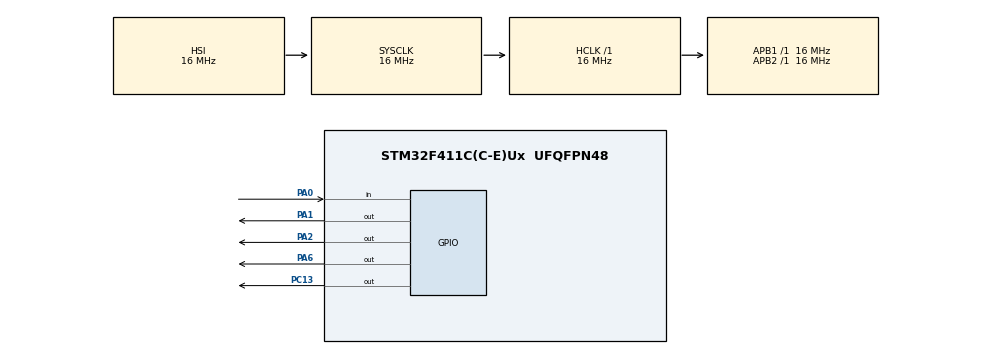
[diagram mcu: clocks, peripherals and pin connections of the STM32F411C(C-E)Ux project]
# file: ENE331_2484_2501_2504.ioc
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Mcu.Family=STM32F4
Mcu.Name=STM32F411C(C-E)Ux
Mcu.Package=UFQFPN48
NVIC.PriorityGroup=NVIC_PRIORITYGROUP_4
NVIC.TIM2_IRQn=true\:0\:0\:false\:false\:true\:true\:true\:true
PA0-WKUP.GPIO_PuPd=GPIO_PULLUP
PA0-WKUP.Signal=GPIO_Input
PA1.Signal=GPIO_Output
PA13.Mode=Serial_Wire
PA13.Signal=SYS_JTMS-SWDIO
PA14.Mode=Serial_Wire
PA14.Signal=SYS_JTCK-SWCLK
PA2.Signal=GPIO_Output
PA6.Signal=GPIO_Output
PB10.Signal=S_TIM2_CH3
PC13-ANTI_TAMP.Signal=GPIO_Output
PH0\ -\ OSC_IN.Mode=HSE-External-Oscillator
PH0\ -\ OSC_IN.Signal=RCC_OSC_IN
PH1\ -\ OSC_OUT.Mode=HSE-External-Oscillator
PH1\ -\ OSC_OUT.Signal=RCC_OSC_OUT
ProjectManager.HeapSize=0x200
ProjectManager.StackSize=0x400
ProjectManager.TargetToolchain=STM32CubeIDE
RCC.AHBFreq_Value=16000000
RCC.APB1Freq_Value=16000000
RCC.APB2Freq_Value=16000000
RCC.CortexFreq_Value=16000000
RCC.HSE_VALUE=25000000
RCC.HSI_VALUE=16000000
RCC.LSE_VALUE=32768
RCC.SYSCLKFreq_VALUE=16000000
RCC.VCOOutputFreq_Value=192000000
SH.S_TIM2_CH3.0=TIM2_CH3
TIM2.Period=1
TIM2.Prescaler=1440-1
VP_TIM2_VS_ClockSourceINT.Mode=Internal
board=custom

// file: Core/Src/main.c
/* USER CODE BEGIN Header */
/**
  ******************************************************************************
  * @file           : main.c
  * @brief          : Main program body
  ******************************************************************************
  * @attention
  *
  * Copyright (c) 2025 STMicroelectronics.
  * All rights reserved.
  *
  * This software is licensed under terms that can be found in the LICENSE file
  * in the root directory of this software component.
  * If no LICENSE file comes with this software, it is provided AS-IS.
  *
  ******************************************************************************
  */
/* USER CODE END Header */
#include "main.h"

/* USER CODE BEGIN PM */
uint32_t lastTime_1;
uint32_t Settime_1 = 60;

uint32_t lastTime_2;
uint32_t Settime_2 = 500;

uint32_t counter = 0;

uint8_t state = 0;
uint8_t LUT[4] = {
	    0b001,  // State 0 → PA1 ON
	    0b010,  // State 1 → PA2 ON
	    0b100,  // State 2 → PA3 ON
	    0b111   // State 3 → All ON
};

void GPIOA_Config(void) {
	// Enable GPIOA Clock (if not already done)
	RCC->AHB1ENR |= RCC_AHB1ENR_GPIOAEN;

	// PA1–PA3: Set as general-purpose output
	GPIOA->MODER &= ~((0x3 << (1 * 2)) | (0x3 << (2 * 2)) | (0x3 << (3 * 2)));
	GPIOA->MODER |=  ((0x1 << (1 * 2)) | (0x1 << (2 * 2)) | (0x1 << (3 * 2))); // '01' = output

	// OTYPER: All push-pull
	GPIOA->OTYPER &= ~((1 << 1) | (1 << 2) | (1 << 3) );

	// No pull-up/pull-down
	GPIOA->PUPDR &= ~((0x3 << (1 * 2)) | (0x3 << (2 * 2)) | (0x3 << (3 * 2))  );

}
unsigned char Read_PA0(void) {
	return (GPIOA->IDR & (1 << 0)) ? 1 : 0;
}

void GPIOB_Config(void) {
	// Enable GPIOB Clock
	RCC -> AHB1ENR |= (0x01 << 1);

	// Config PB10 as Output
	GPIOB -> MODER |= (0x01 << (10* 2));

    // Set output type
    // ALL GPIO (PB10) is  Output push-pull
	GPIOB-> OTYPER &= (0x00);

	// ALL GPIO (PBB10) Speed is High speed Output
	GPIOB -> OSPEEDR &= ~(0x00);

	// Disable PB10  pull-up
	GPIOB->PUPDR |= (0x00 << (10 * 2));
}

void GPIO_Toggle_Config(void) {
    // Enable GPIOA Clock
    RCC -> AHB1ENR |= (0x01 << 0);  // Enable GPIOA clock

    // Set PA6 as output
    GPIOA -> MODER &= ~(0x03 << (6 * 2));  // Clear MODER6
    GPIOA -> MODER |= (0x01 << (6 * 2));   // Set PA6 as output ('01')

    // Set output type
    GPIOA -> OTYPER &= ~(0x01 << 6);  // Push-pull for PA6

    // Disable pull-up/pull-down
    GPIOA -> PUPDR &= ~(0x03 << (6 * 2));   // No pull-up/pull-down for PA6
}

//	// Enable GPIOC Clock
//	RCC -> AHB1ENR |= (0x01 << 2);
//	// Set PC13 as output
//	GPIOC -> MODER &= ~(0x03 << 26); 	// Clear bit 27:26 bit
//	GPIOC -> MODER |= (0x01 << 26);		// Set bit 27:26 bit to b01
//	// Set output type
//	GPIOC -> OTYPER &= ~(0x01 << 13);
//	// Set GPIO Speed (optional)
//	GPIOC -> OSPEEDR &= ~(0x03 << 26);
//	// Disable pull-up/pull-down
//	GPIOC -> PUPDR &= ~(0x03 << 26);

void HAL_TIM_PeriodElapsedCallback(TIM_HandleTypeDef* htim) {
	if(htim -> Instance == TIM2) {
		counter++;
		GPIOB -> ODR ^= (1 << 10);
	}
}

/* USER CODE END PM */

TIM_HandleTypeDef htim2;

void SystemClock_Config(void);
static void MX_GPIO_Init(void);
static void MX_TIM2_Init(void);

int main(void)
{

  /* MCU Configuration--------------------------------------------------------*/

  /* Reset of all peripherals, Initializes the Flash interface and the Systick. */
  HAL_Init();

  /* Configure the system clock */
  SystemClock_Config();

  /* Initialize all configured peripherals */
  MX_GPIO_Init();
  MX_TIM2_Init();

  /* USER CODE BEGIN 2 */

  GPIOA_Config();
  GPIOB_Config();
  GPIO_Toggle_Config();
  HAL_TIM_Base_Start(&htim2);

  /* USER CODE END 2 */

  /* Infinite loop */
  /* USER CODE BEGIN WHILE */
  while (1)
  {

	  // 20 us base time from TIM2
	     if (__HAL_TIM_GET_FLAG(&htim2, TIM_FLAG_UPDATE) == SET) {
	         __HAL_TIM_CLEAR_FLAG(&htim2, TIM_FLAG_UPDATE);
	         counter++;
	     }
	        // Task 1
  	        if((counter - lastTime_1) >= Settime_1) {
	            // Your program task
	        	GPIOA-> ODR ^= (1 << 6); // Toggle PA6
//	        	GPIOC -> ODR ^= (1 << 13);
	        	for(uint32_t i=0; i<=6000; i++) {
	        		__NOP();
	        	}
	            lastTime_1 = counter;
		    }

	        // Task 2
	        if((counter - lastTime_2) >= Settime_2) {
	            // Your program task
	        	 if ((Read_PA0() == 0 )) {
	        		// On falling edge (button press)
	        		GPIOA->ODR &= ~(0x0E);               // Clear PA1–PA3
	        		GPIOA->ODR |= (LUT[state] << 1);     // Update LED pattern

	        		state += 1;

	        		if (state == 4){
	        			state = 0;}
	        		     	             }
	            lastTime_2 = counter;
		    }

    /* USER CODE END WHILE */

  }
}

void SystemClock_Config(void)
{
  RCC_OscInitTypeDef RCC_OscInitStruct = {0};
  RCC_ClkInitTypeDef RCC_ClkInitStruct = {0};

  /** Configure the main internal regulator output voltage
  */
  __HAL_RCC_PWR_CLK_ENABLE();
  __HAL_PWR_VOLTAGESCALING_CONFIG(PWR_REGULATOR_VOLTAGE_SCALE1);

  /** Initializes the RCC Oscillators according to the specified parameters
  * in the RCC_OscInitTypeDef structure.
  */
  RCC_OscInitStruct.OscillatorType = RCC_OSCILLATORTYPE_HSI;
  RCC_OscInitStruct.HSIState = RCC_HSI_ON;
  RCC_OscInitStruct.HSICalibrationValue = RCC_HSICALIBRATION_DEFAULT;
  RCC_OscInitStruct.PLL.PLLState = RCC_PLL_NONE;
  if (HAL_RCC_OscConfig(&RCC_OscInitStruct) != HAL_OK)
  {
    Error_Handler();
  }

  /** Initializes the CPU, AHB and APB buses clocks
  */
  RCC_ClkInitStruct.ClockType = RCC_CLOCKTYPE_HCLK|RCC_CLOCKTYPE_SYSCLK
                              |RCC_CLOCKTYPE_PCLK1|RCC_CLOCKTYPE_PCLK2;
  RCC_ClkInitStruct.SYSCLKSource = RCC_SYSCLKSOURCE_HSI;
  RCC_ClkInitStruct.AHBCLKDivider = RCC_SYSCLK_DIV1;
  RCC_ClkInitStruct.APB1CLKDivider = RCC_HCLK_DIV1;
  RCC_ClkInitStruct.APB2CLKDivider = RCC_HCLK_DIV1;

  if (HAL_RCC_ClockConfig(&RCC_ClkInitStruct, FLASH_LATENCY_0) != HAL_OK)
  {
    Error_Handler();
  }
}

static void MX_TIM2_Init(void)
{

  TIM_ClockConfigTypeDef sClockSourceConfig = {0};
  TIM_MasterConfigTypeDef sMasterConfig = {0};

  htim2.Instance = TIM2;
  htim2.Init.Prescaler = 1440-1;
  htim2.Init.CounterMode = TIM_COUNTERMODE_UP;
  htim2.Init.Period = 1;
  htim2.Init.ClockDivision = TIM_CLOCKDIVISION_DIV1;
  htim2.Init.AutoReloadPreload = TIM_AUTORELOAD_PRELOAD_DISABLE;
  if (HAL_TIM_Base_Init(&htim2) != HAL_OK)
  {
    Error_Handler();
  }
  sClockSourceConfig.ClockSource = TIM_CLOCKSOURCE_INTERNAL;
  if (HAL_TIM_ConfigClockSource(&htim2, &sClockSourceConfig) != HAL_OK)
  {
    Error_Handler();
  }
  sMasterConfig.MasterOutputTrigger = TIM_TRGO_RESET;
  sMasterConfig.MasterSlaveMode = TIM_MASTERSLAVEMODE_DISABLE;
  if (HAL_TIMEx_MasterConfigSynchronization(&htim2, &sMasterConfig) != HAL_OK)
  {
    Error_Handler();
  }

}

static void MX_GPIO_Init(void)
{
  GPIO_InitTypeDef GPIO_InitStruct = {0};

  /* GPIO Ports Clock Enable */
  __HAL_RCC_GPIOC_CLK_ENABLE();
  __HAL_RCC_GPIOH_CLK_ENABLE();
  __HAL_RCC_GPIOA_CLK_ENABLE();
  __HAL_RCC_GPIOB_CLK_ENABLE();

  /*Configure GPIO pin Output Level */
  HAL_GPIO_WritePin(GPIOC, GPIO_PIN_13, GPIO_PIN_RESET);

  /*Configure GPIO pin Output Level */
  HAL_GPIO_WritePin(GPIOA, GPIO_PIN_1|GPIO_PIN_2|GPIO_PIN_6, GPIO_PIN_RESET);

  /*Configure GPIO pin : PC13 */
  GPIO_InitStruct.Pin = GPIO_PIN_13;
  GPIO_InitStruct.Mode = GPIO_MODE_OUTPUT_PP;
  GPIO_InitStruct.Pull = GPIO_NOPULL;
  GPIO_InitStruct.Speed = GPIO_SPEED_FREQ_LOW;
  HAL_GPIO_Init(GPIOC, &GPIO_InitStruct);

  /*Configure GPIO pin : PA0 */
  GPIO_InitStruct.Pin = GPIO_PIN_0;
  GPIO_InitStruct.Mode = GPIO_MODE_INPUT;
  GPIO_InitStruct.Pull = GPIO_PULLUP;
  HAL_GPIO_Init(GPIOA, &GPIO_InitStruct);

  /*Configure GPIO pins : PA1 PA2 PA6 */
  GPIO_InitStruct.Pin = GPIO_PIN_1|GPIO_PIN_2|GPIO_PIN_6;
  GPIO_InitStruct.Mode = GPIO_MODE_OUTPUT_PP;
  GPIO_InitStruct.Pull = GPIO_NOPULL;
  GPIO_InitStruct.Speed = GPIO_SPEED_FREQ_LOW;
  HAL_GPIO_Init(GPIOA, &GPIO_InitStruct);

}

void Error_Handler(void)
{
  __disable_irq();
  while (1)
  {
  }
}
